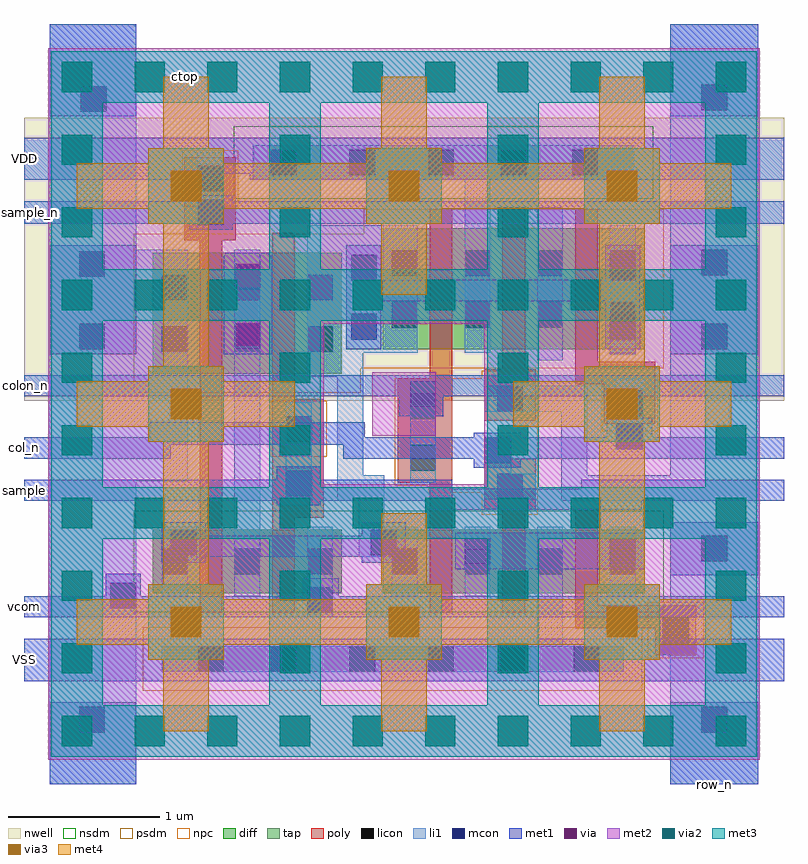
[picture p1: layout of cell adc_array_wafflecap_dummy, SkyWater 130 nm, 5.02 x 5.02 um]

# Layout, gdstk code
import gdstk
lib = gdstk.Library(unit=1e-6, precision=1e-09)
def R(c, l, rs):  # rectangles x0, y0, x1, y1
    for r in rs: c.add(gdstk.rectangle(r[:2], r[2:], *l))
def A(c, l, x, y, w, h, nx, ny, dx, dy):  # array of equal rectangles
    R(c, l, [(x+i*dx, y+j*dy, x+i*dx+w, y+j*dy+h) for i in range(nx) for j in range(ny)])
nwell = (64, 20)
diff = (65, 20)
tap = (65, 44)
poly = (66, 20)
licon = (66, 44)
li1 = (67, 20)
mcon = (67, 44)
met1 = (68, 20)
via = (68, 44)
met2 = (69, 20)
via2 = (69, 44)
met3 = (70, 20)
via3 = (70, 44)
met4 = (71, 20)
nsdm = (93, 44)
psdm = (94, 20)
npc = (95, 20)

adc_array_wafflecap_dumm = lib.new_cell('adc_array_wafflecap_dummy')
R(adc_array_wafflecap_dumm, nwell, [(0,2.53,5.02,4.4)])
R(adc_array_wafflecap_dumm, diff, [(0.85,1.26,2.1,1.68), (2.37,1.26,4.1,1.68), (0.85,2.71,2.1,3.51), (2.37,2.87,4.1,3.67)])
R(adc_array_wafflecap_dumm, tap, [(0.91,0.74,3.96,0.91), (1.51,3.99,4.03,4.22)])
R(adc_array_wafflecap_dumm, poly, [(4.17,0.85,4.44,1.03), (3.64,1.03,4.44,1.18), (1.16,1.13,1.31,3.59), (1.64,1.13,1.79,1.76), (2.68,1.13,2.83,1.99), (3.16,1.13,3.31,1.81), (3.64,1.18,3.79,1.81), (1.64,1.76,1.98,2.54), (3.04,1.81,3.38,2.13), (2.47,1.99,2.83,2.68), (3.22,2.13,3.38,2.15), (3.83,2.38,4.17,2.64), (3.04,2.4,3.38,2.74), (1.64,2.54,1.79,3.64), (3.64,2.64,4.17,2.79), (2.68,2.68,2.83,3.8), (3.16,2.74,3.31,3.8), (3.64,2.79,3.79,3.8), (1.06,3.59,1.4,4.14)])
A(adc_array_wafflecap_dumm, licon, 1.63, 0.74, 0.17, 0.17, 3, 2, 0.52, 3.28)
A(adc_array_wafflecap_dumm, licon, 0.91, 1.385, 0.17, 0.17, 3, 2, 0.48, 1.47)
A(adc_array_wafflecap_dumm, licon, 2.43, 1.385, 0.17, 0.17, 4, 2, 0.48, 1.63)
A(adc_array_wafflecap_dumm, licon, 0.91, 3.195, 0.17, 0.17, 3, 1, 0.48, 0)
A(adc_array_wafflecap_dumm, licon, 2.43, 3.355, 0.17, 0.17, 4, 1, 0.48, 0)
R(adc_array_wafflecap_dumm, licon, [(1.15,0.74,1.32,0.91), (3.14,0.74,3.31,0.91), (3.63,0.74,3.8,0.91), (4.22,0.93,4.39,1.1), (3.125,1.88,3.295,2.05), (2.55,2.07,2.72,2.24), (1.73,2.26,1.9,2.43), (2.55,2.41,2.72,2.58), (3.915,2.43,4.085,2.6), (3.125,2.46,3.295,2.63), (1.145,3.915,1.315,4.085), (3.15,4.02,3.32,4.19), (3.62,4.02,3.79,4.19)])
R(adc_array_wafflecap_dumm, li1, [(0.17,0,0.74,2), (4.27,0,4.85,0.85), (0.91,0.74,3.96,0.91), (4.2,0.85,4.85,1.18), (3.39,0.91,3.56,1.7), (1.87,1.1,2.04,1.7), (4.27,1.18,4.85,1.87), (0.91,1.24,1.08,1.46), (1.39,1.24,1.56,3.53), (2.43,1.24,2.6,1.5), (2.91,1.24,3.08,1.7), (3.87,1.24,4.04,1.7), (0.91,1.46,1.14,1.7), (2.21,1.5,2.6,1.7), (2.21,1.7,2.38,1.87), (1.73,1.87,1.9,2.52), (2.07,1.87,2.38,2.04), (3.55,1.87,4.85,2.04), (3.04,1.88,3.38,2.05), (2.55,1.99,2.72,2.66), (0.17,2,1.08,3.53), (2.07,2.04,2.24,2.69), (3.55,2.04,3.72,2.46), (4.27,2.04,4.85,5.02), (3.04,2.05,3.22,2.29), (3.91,2.21,4.09,2.68), (3.04,2.46,3.72,2.63), (1.87,2.69,2.24,2.85), (3.39,2.8,3.56,3.81), (1.87,2.85,2.6,3.69), (2.91,2.85,3.08,3.99), (3.87,2.85,4.04,3.69), (0.17,3.53,0.74,5.02), (1.14,3.69,1.32,4.17), (1.51,3.99,4.03,4.22)])
A(adc_array_wafflecap_dumm, mcon, 1.63, 0.74, 0.17, 0.17, 3, 2, 0.52, 3.28)
R(adc_array_wafflecap_dumm, mcon, [(0.365,0.34,0.535,0.51), (4.475,0.34,4.645,0.51), (1.15,0.74,1.32,0.91), (3.14,0.74,3.31,0.91), (3.63,0.74,3.8,0.91), (1.87,1.13,2.04,1.3), (0.57,1.16,0.74,1.33), (2.91,1.45,3.08,1.62), (3.87,1.45,4.04,1.62), (4.475,1.47,4.645,1.64), (0.97,1.51,1.14,1.68), (2.29,1.51,2.46,1.68), (1.73,1.9,1.9,2.07), (3.045,2.12,3.215,2.29), (3.915,2.21,4.085,2.38), (2.55,2.49,2.72,2.66), (0.365,2.87,0.535,3.04), (4.475,2.87,4.645,3.04), (1.39,2.875,1.56,3.045), (2.16,2.935,2.33,3.105), (3.87,2.935,4.04,3.105), (1.39,3.265,1.56,3.435), (2.16,3.325,2.33,3.495), (3.87,3.325,4.04,3.495), (0.365,3.35,0.535,3.52), (4.475,3.36,4.645,3.53), (1.15,3.69,1.32,3.86), (3.15,4.02,3.32,4.19), (3.62,4.02,3.79,4.19), (0.375,4.44,0.545,4.61), (4.475,4.45,4.645,4.62)])
R(adc_array_wafflecap_dumm, met1, [(0.17,0,0.74,0.54), (4.27,0,4.85,0.54), (0,0.68,5.02,0.96), (0,1.1,5.02,1.24), (0.54,1.24,0.77,1.39), (1.84,1.24,2.08,1.36), (4.27,1.38,4.85,1.73), (2.85,1.42,4.1,1.66), (0.91,1.46,1.2,1.5), (2.23,1.46,2.52,1.5), (0.91,1.5,2.52,1.64), (0.91,1.64,1.2,1.73), (2.23,1.64,2.52,1.73), (2.65,1.81,4.08,1.87), (1.67,1.84,1.96,1.87), (0,1.87,5.02,1.95), (0,1.95,2.83,2.01), (3.68,1.95,5.02,2.01), (1.67,2.01,1.96,2.1), (2.97,2.09,3.28,2.15), (0,2.15,0.97,2.24), (2.11,2.15,5.02,2.24), (0,2.24,5.02,2.29), (0.83,2.29,2.25,2.39), (2.97,2.29,3.28,2.32), (3.85,2.29,4.15,2.42), (2.48,2.43,2.77,2.56), (0,2.56,5.02,2.7), (0.17,2.84,0.74,3.56), (1.32,2.84,1.64,3.49), (3.87,2.84,4.04,2.87), (4.27,2.84,4.85,3.56), (2.13,2.87,2.36,3.19), (3.84,2.87,4.07,3.19), (2.13,3.19,4.07,3.33), (2.13,3.33,2.36,3.56), (3.84,3.33,4.07,3.56), (1.33,3.49,1.62,3.51), (1.09,3.66,1.38,3.7), (0,3.7,5.02,3.85), (1.09,3.85,1.38,3.89), (0,3.99,0.98,4.03), (1.49,3.99,5.02,4.03), (0,4.03,5.02,4.27), (0.17,4.41,0.74,5.02), (4.27,4.41,4.85,5.02)])
R(adc_array_wafflecap_dumm, via, [(1.405,2.895,1.555,3.045), (1.405,3.285,1.555,3.435)])
R(adc_array_wafflecap_dumm, met2, [(0.16,0.16,4.86,1.98), (0.16,1.98,1.98,3.04), (3.04,1.98,4.86,3.04), (2.3,2.3,2.72,2.72), (0.16,3.04,4.86,4.86)])
A(adc_array_wafflecap_dumm, via2, 0.25, 0.25, 0.2, 0.2, 10, 4, 0.48, 1.44)
A(adc_array_wafflecap_dumm, via2, 0.25, 0.73, 0.2, 0.2, 4, 2, 1.44, 0.48)
A(adc_array_wafflecap_dumm, via2, 0.25, 2.17, 0.2, 0.2, 4, 2, 1.44, 0.48)
A(adc_array_wafflecap_dumm, via2, 0.25, 3.61, 0.2, 0.2, 4, 2, 1.44, 0.48)
A(adc_array_wafflecap_dumm, met3, 0.18, 0.18, 4.66, 0.34, 1, 4, 0, 1.44)
A(adc_array_wafflecap_dumm, met3, 0.18, 0.52, 0.34, 1.1, 4, 3, 1.44, 1.44)
A(adc_array_wafflecap_dumm, met3, 0.82, 0.82, 0.5, 0.5, 3, 2, 1.44, 2.88)
R(adc_array_wafflecap_dumm, met3, [(0.82,2.26,1.32,2.76), (3.7,2.26,4.2,2.76)])
A(adc_array_wafflecap_dumm, via3, 0.97, 0.97, 0.2, 0.2, 3, 2, 1.44, 2.88)
R(adc_array_wafflecap_dumm, via3, [(0.97,2.41,1.17,2.61), (3.85,2.41,4.05,2.61)])
A(adc_array_wafflecap_dumm, met4, 0.92, 0.35, 0.3, 0.47, 3, 2, 1.44, 3.85)
A(adc_array_wafflecap_dumm, met4, 0.82, 0.82, 0.5, 0.1, 3, 2, 1.44, 0.4)
A(adc_array_wafflecap_dumm, met4, 0.82, 3.7, 0.5, 0.1, 3, 2, 1.44, 0.4)
R(adc_array_wafflecap_dumm, met4, [(0.35,0.92,4.67,1.22), (0.92,1.32,1.22,2.26), (2.36,1.32,2.66,1.79), (3.8,1.32,4.1,2.26), (0.82,2.26,1.32,2.36), (3.7,2.26,4.2,2.36), (0.35,2.36,1.79,2.66), (3.23,2.36,4.67,2.66), (0.82,2.66,1.32,2.76), (3.7,2.66,4.2,2.76), (0.92,2.76,1.22,3.7), (3.8,2.76,4.1,3.7), (2.36,3.23,2.66,3.7), (0.35,3.8,4.67,4.1)])
R(adc_array_wafflecap_dumm, nsdm, [(0.725,1.135,4.225,1.805), (1.385,3.865,4.155,4.345)])
R(adc_array_wafflecap_dumm, psdm, [(0.785,0.615,4.085,1.035), (0.725,2.585,2.225,2.745), (0.725,2.745,4.225,3.635), (2.245,3.635,4.225,3.795)])
R(adc_array_wafflecap_dumm, npc, [(4.12,0.83,4.49,1.2), (3.025,1.78,3.395,1.925), (2.67,1.925,3.395,1.97), (2.45,1.97,3.395,2.68), (1.63,2.16,2,2.53), (3.815,2.33,4.185,2.7), (3.025,2.68,3.395,2.73), (1.045,3.815,1.415,4.185)])
adc_array_wafflecap_dumm.add(gdstk.Label('VDD', (0,4.13), layer=68, texttype=16))
adc_array_wafflecap_dumm.add(gdstk.Label('sample_n', (0,3.775), layer=68, texttype=16))
adc_array_wafflecap_dumm.add(gdstk.Label('colon_n', (0,2.63), layer=68, texttype=16))
adc_array_wafflecap_dumm.add(gdstk.Label('col_n', (0,2.22), layer=68, texttype=16))
adc_array_wafflecap_dumm.add(gdstk.Label('sample', (0,1.94), layer=68, texttype=16))
adc_array_wafflecap_dumm.add(gdstk.Label('vcom', (0,1.17), layer=68, texttype=16))
adc_array_wafflecap_dumm.add(gdstk.Label('VSS', (0,0.82), layer=68, texttype=16))
adc_array_wafflecap_dumm.add(gdstk.Label('row_n', (4.56,0), layer=67, texttype=16))
adc_array_wafflecap_dumm.add(gdstk.Label('ctop', (1.07,4.67), layer=71, texttype=16))

lib.write_gds('adc_array_wafflecap_dummy.gds')
